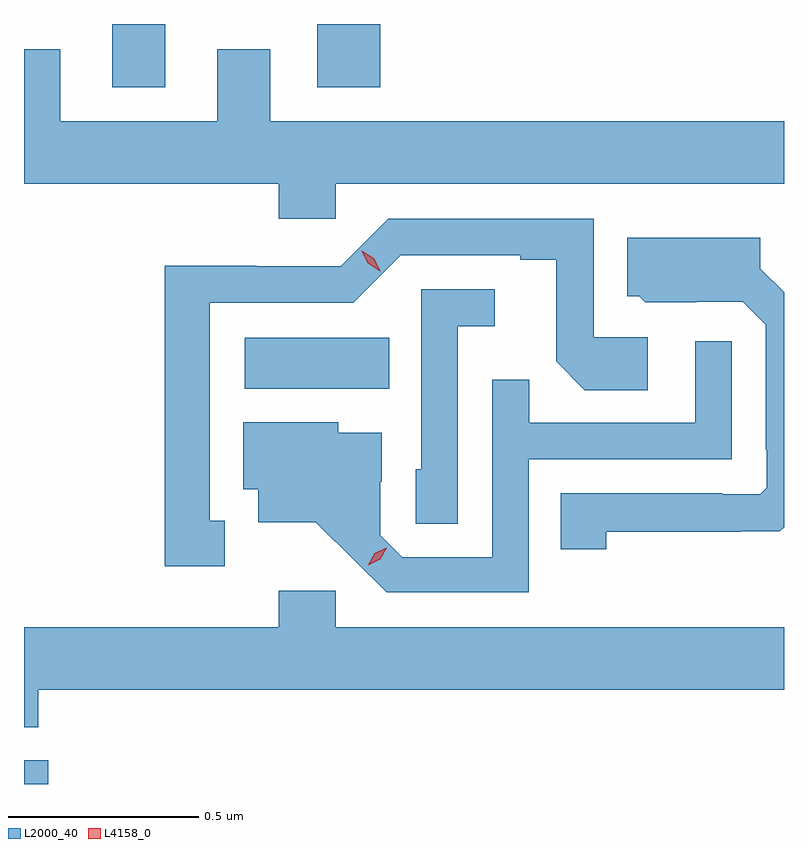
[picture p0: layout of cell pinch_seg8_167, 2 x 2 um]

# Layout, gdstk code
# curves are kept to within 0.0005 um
import gdstk
lib = gdstk.Library(unit=1e-6, precision=1e-09)
def R(c, l, rs):  # rectangles x0, y0, x1, y1
    for r in rs: c.add(gdstk.rectangle(r[:2], r[2:], *l))
def P(c, l, *ps):  # polygons
    for p in ps: c.add(gdstk.Polygon(p, *l))
L2000_40 = (2000, 40)
L4158_0 = (4158, 0)

pinch_seg8_167 = lib.new_cell('pinch_seg8_167')
R(pinch_seg8_167, L2000_40, [(708.445,1156.212,708.509,1156.274), (709.026,1157.252,709.406,1157.386), (708.677,1158.045,708.817,1158.212), (709.217,1158.045,709.382,1158.212)])
P(pinch_seg8_167, L2000_40, [(709.266,1157.792),(710.445,1157.792),(710.445,1157.956),(709.093,1157.956),(709.093,1158.146),(708.953,1158.146),(708.953,1157.956),(708.541,1157.956),(708.541,1158.146),(708.445,1158.146),(708.445,1157.792),(709.115,1157.792),(709.115,1157.699),(709.266,1157.699)],
  [(708.973,1156.905),(708.934,1156.905),(708.934,1157.478),(709.311,1157.478),(709.437,1157.604),(709.751,1157.604),(709.751,1157.592),(709.845,1157.592),(709.845,1157.324),(709.921,1157.248),(710.086,1157.248),(710.086,1157.388),(709.944,1157.388),(709.944,1157.7),(709.404,1157.7),(709.278,1157.574),(709.056,1157.574),(709.056,1157.576),(708.816,1157.576),(708.816,1156.785),(708.973,1156.785)],
  [(709.977,1156.876),(710.333,1156.876),(710.333,1156.877),(710.434,1156.877),(710.445,1156.888),(710.445,1157.506),(710.383,1157.568),(710.383,1157.65),(710.033,1157.65),(710.033,1157.496),(710.064,1157.496),(710.08,1157.48),(710.214,1157.48),(710.214,1157.481),(710.337,1157.481),(710.397,1157.421),(710.397,1157.092),(710.4,1157.092),(710.4,1156.992),(710.382,1156.974),(710.282,1156.974),(710.282,1156.977),(709.858,1156.977),(709.858,1156.83),(709.977,1156.83)],
  [(709.587,1157.417),(709.684,1157.417),(709.684,1157.514),(709.491,1157.514),(709.491,1157.04),(709.476,1157.04),(709.476,1156.897),(709.587,1156.897)],
  [(709.773,1157.067),(710.307,1157.067),(710.307,1157.377),(710.211,1157.377),(710.211,1157.163),(709.775,1157.163),(709.775,1157.276),(709.677,1157.276),(709.677,1156.809),(709.44,1156.809),(709.383,1156.866),(709.383,1157.008),(709.387,1157.008),(709.387,1157.137),(709.272,1157.137),(709.272,1157.164),(709.022,1157.164),(709.022,1156.988),(709.061,1156.988),(709.061,1156.901),(709.213,1156.901),(709.4,1156.716),(709.773,1156.716)],
  [(708.482,1156.46),(710.445,1156.46),(710.445,1156.624),(709.266,1156.624),(709.266,1156.72),(709.115,1156.72),(709.115,1156.624),(708.445,1156.624),(708.445,1156.361),(708.482,1156.361)])
P(pinch_seg8_167, L4158_0, [(709.351,1156.788),(709.351,1156.789),(709.368,1156.819),(709.398,1156.834),(709.399,1156.834),(709.399,1156.834),(709.382,1156.804),(709.351,1156.788)],
  [(709.382,1157.562),(709.35,1157.582),(709.334,1157.615),(709.334,1157.615),(709.334,1157.615),(709.365,1157.596),(709.382,1157.563),(709.382,1157.562)])

lib.write_gds('pinch_seg8_167.gds')
